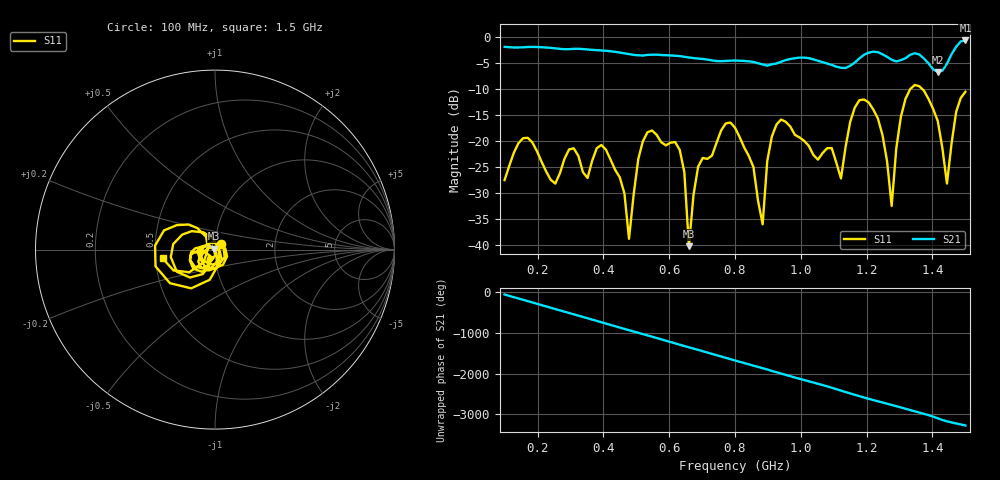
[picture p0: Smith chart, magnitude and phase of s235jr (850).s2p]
! NanoVNA-App
! Date: 2025-09-25 15:10:47
! Start: 100MHz Stop: 1,5GHz Points: 101
! S-Parameter data: F S11 S21 S12 S22
# Hz S RI R 50
!  Frequency  S11_Real  S11_Imag  S21_Real  S21_Imag  S12_Real  S12_Imag  S22_Real  S22_Imag
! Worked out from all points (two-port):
!   101 points, 100 MHz to 1.5 GHz, reference 50 ohm
!   highest |S21| = -0.74 dB at 1.5 GHz (marker M1); lowest = -6.8 dB at 1.416 GHz (marker M2)
!   |S21| within 3 dB of the highest: start of sweep to 633 MHz; 1.187 GHz to 1.258 GHz (71.5 MHz wide, 5.85 % of centre) (the widest 2 of 4)
!   lowest |S11| = -40.1 dB at 660 MHz (marker M3), VSWR 1.02, Z = 49.2 + j0.557 ohm
!   |S11| at or under -10 dB: start of sweep to 1.333 GHz; 1.368 GHz to end of sweep
!   S12 and S22 are empty: the file has one direction only
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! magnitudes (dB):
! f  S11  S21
! 100 MHz  -27.5  -2.0
! 156 MHz  -19.5  -2.1
! 338 MHz  -26.0  -2.4
! 408 MHz  -21.7  -2.7
! 478 MHz  -38.7  -3.4
! 520 MHz  -20.1  -3.6
! 576 MHz  -20.3  -3.5
! 632 MHz  -21.7  -3.7
! 660 MHz  -40.1  -4.0
! 688 MHz  -24.9  -4.2
! 800 MHz  -17.4  -4.6
! 884 MHz  -35.9  -5.3
! 926 MHz  -16.8  -5.1
! 1.038 GHz  -22.7  -4.4
! 1.122 GHz  -27.2  -6.0
! 1.164 GHz  -13.6  -5.0
! 1.206 GHz  -12.6  -3.1
! 1.276 GHz  -32.4  -4.4
! 1.332 GHz  -10.1  -3.5
! 1.416 GHz  -16.2  -6.8
! 1.444 GHz  -28.1  -5.2
! 1.5 GHz  -10.6  -0.7
